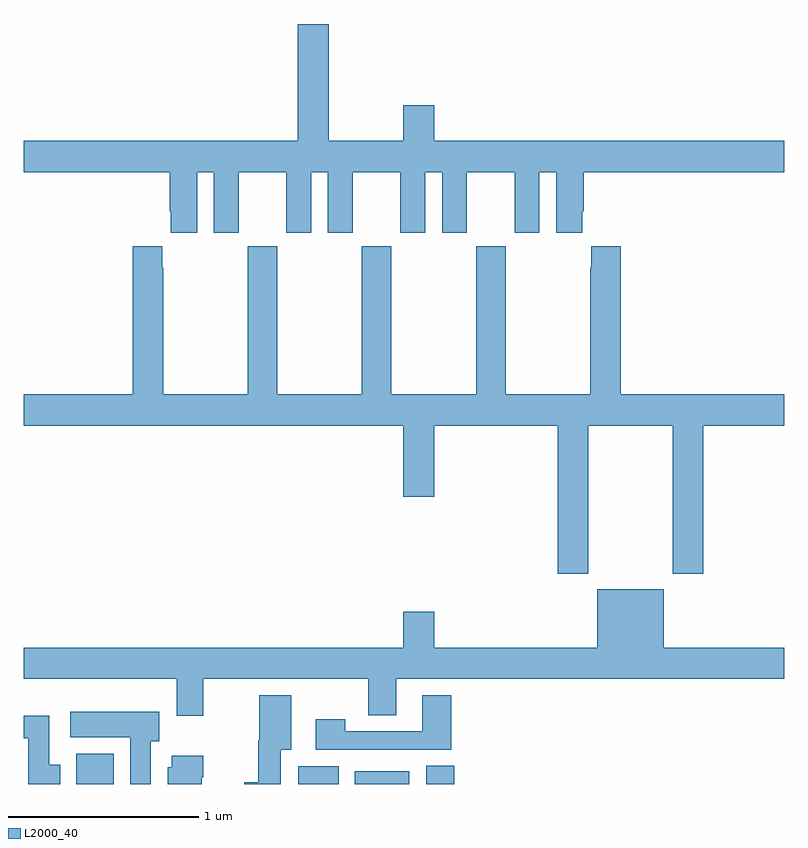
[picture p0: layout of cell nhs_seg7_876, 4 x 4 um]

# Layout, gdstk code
import gdstk
lib = gdstk.Library(unit=1e-6, precision=1e-09)
def R(c, l, rs):  # rectangles x0, y0, x1, y1
    for r in rs: c.add(gdstk.rectangle(r[:2], r[2:], *l))
def P(c, l, *ps):  # polygons
    for p in ps: c.add(gdstk.Polygon(p, *l))
L2000_40 = (2000, 40)

nhs_seg7_876 = lib.new_cell('nhs_seg7_876')
R(nhs_seg7_876, L2000_40, [(175.277,1064,175.474,1064.158), (176.444,1064,176.656,1064.092), (176.741,1064,177.028,1064.068), (177.116,1064,177.263,1064.096)])
P(nhs_seg7_876, L2000_40, [(175.912,1067.216),(176,1067.216),(176,1066.899),(176.131,1066.899),(176.131,1067.216),(176.381,1067.216),(176.381,1066.899),(176.512,1066.899),(176.512,1067.216),(176.6,1067.216),(176.6,1066.899),(176.731,1066.899),(176.731,1067.216),(176.981,1067.216),(176.981,1066.899),(177.112,1066.899),(177.112,1067.216),(177.2,1067.216),(177.2,1066.899),(177.331,1066.899),(177.331,1067.216),(177.581,1067.216),(177.581,1066.899),(177.712,1066.899),(177.712,1067.216),(177.8,1067.216),(177.8,1066.899),(177.937,1066.899),(177.937,1067.011),(177.944,1067.011),(177.944,1067.216),(179,1067.216),(179,1067.38),(177.16,1067.38),(177.16,1067.569),(176.996,1067.569),(176.996,1067.38),(176.605,1067.38),(176.605,1067.995),(176.441,1067.995),(176.441,1067.38),(175,1067.38),(175,1067.216),(175.769,1067.216),(175.769,1067.011),(175.775,1067.011),(175.775,1066.899),(175.912,1066.899)],
  [(177.969,1065.884),(178.414,1065.884),(178.414,1065.105),(178.574,1065.105),(178.574,1065.884),(179,1065.884),(179,1066.048),(178.139,1066.048),(178.139,1066.828),(177.983,1066.828),(177.983,1066.715),(177.979,1066.715),(177.979,1066.048),(177.534,1066.048),(177.534,1066.828),(177.379,1066.828),(177.379,1066.048),(176.934,1066.048),(176.934,1066.828),(176.779,1066.828),(176.779,1066.048),(176.334,1066.048),(176.334,1066.828),(176.179,1066.828),(176.179,1066.048),(175.734,1066.048),(175.734,1066.715),(175.729,1066.715),(175.729,1066.828),(175.574,1066.828),(175.574,1066.048),(175,1066.048),(175,1065.884),(176.996,1065.884),(176.996,1065.51),(177.16,1065.51),(177.16,1065.884),(177.809,1065.884),(177.809,1065.105),(177.969,1065.105)],
  [(175.945,1064.552),(176.812,1064.552),(176.812,1064.362),(176.959,1064.362),(176.959,1064.552),(179,1064.552),(179,1064.716),(178.366,1064.716),(178.366,1065.025),(178.016,1065.025),(178.016,1064.716),(177.16,1064.716),(177.16,1064.905),(176.996,1064.905),(176.996,1064.716),(175,1064.716),(175,1064.552),(175.805,1064.552),(175.805,1064.358),(175.945,1064.358)],
  [(177.248,1064.467),(177.095,1064.467),(177.095,1064.277),(176.691,1064.277),(176.691,1064.341),(176.535,1064.341),(176.535,1064.181),(177.248,1064.181)],
  [(176.353,1064.18),(176.407,1064.18),(176.407,1064.467),(176.24,1064.467),(176.24,1064.229),(176.233,1064.229),(176.233,1064.008),(176.159,1064.008),(176.159,1064),(176.353,1064)],
  [(175.669,1064.226),(175.714,1064.226),(175.714,1064.38),(175.245,1064.38),(175.245,1064.246),(175.562,1064.246),(175.562,1064),(175.669,1064)],
  [(175.192,1064.1),(175.135,1064.1),(175.135,1064.359),(175,1064.359),(175,1064.24),(175.025,1064.24),(175.025,1064),(175.192,1064)],
  [(175.936,1064.036),(175.944,1064.036),(175.944,1064.149),(175.778,1064.149),(175.778,1064.088),(175.757,1064.088),(175.757,1064),(175.936,1064)])

lib.write_gds('nhs_seg7_876.gds')
